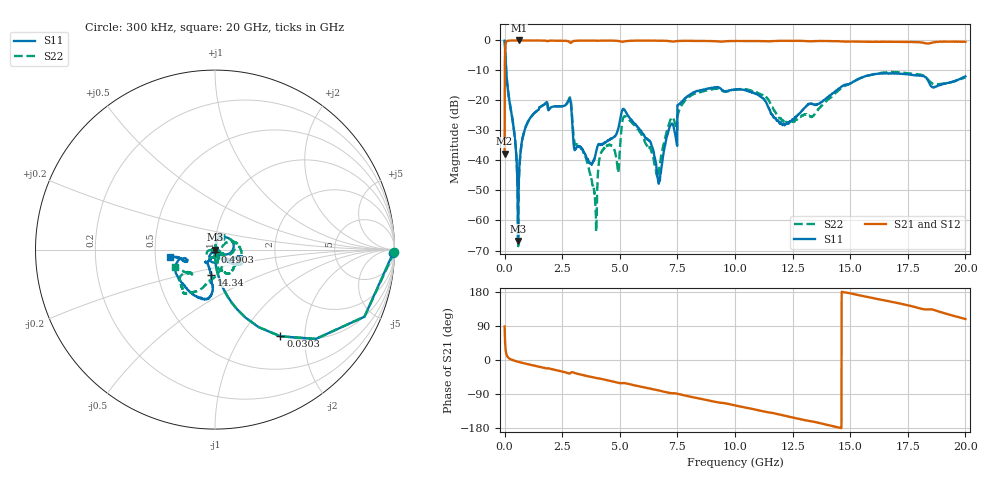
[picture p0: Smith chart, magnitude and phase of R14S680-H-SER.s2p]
!{R14S680}
!Johanson Technology Inc.
!www.johansontechnology.com
!Test Board Conditions:
!Substrate Type  RO4350B
!Substrate Thickness  20 mil
!Substrate Dk  3.66
!TL Type: GCPW
!TL Trace Width  36 mil
!TL Gap  12 mil
!Electrode orientation  Horizontal
!DUT TOPOLOGY	SERIES
!Mounting Pad LxW  26x36 mil
! Created Wed Nov 25 17:33:21 2020
! 2 Port Network Data from SP1.SP block
! freq  magS11  angS11  magS21  angS21  magS12  angS12  magS22  angS22
# khz S ma R 50
! decimated to every 10th point (10 MHz spacing) of the original 1 MHz Johanson file; values unchanged
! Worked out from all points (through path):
!   2001 points, 300 kHz to 20 GHz, reference 50 ohm
!   highest |S21| = 0.00 dB at 610.3 MHz (marker M1); lowest = -37.7 dB at 300 kHz (marker M2)
!   group delay of S21, straight-line fit = 34.8 ps
!   lowest |S11| = -66.8 dB at 580.3 MHz (marker M3), VSWR 1.00, Z = 50 - j0.0372 ohm
!   |S11| at or under -10 dB: 68.53 MHz to end of sweep
!   |S22| runs from -68.6 to 0.0 dB; largest |S21 - S12| = 0.017
!   S11 on the Smith chart (normalised r, x): 300 kHz: open; 30.3 MHz: 0.99, -1.51; 490.3 MHz: 1.00, -0.03; 14.34 GHz: 0.92, -0.26; 20 GHz: 0.60, -0.05
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300  0.9933 -1.0  0.01303 88.3  0.01298 89.2  0.998 -0.9
30300  0.6048 -53.0  0.7944 37.0  0.7954 37.0  0.6059 -52.9
120300  0.1818 -80.4  0.9828 9.4  0.9826 9.4  0.1826 -80.5
490300  0.01497 -94.2  0.9992 -3.1  0.9992 -3.1  0.01533 -92.6
580300  0.0004553 -125.1  0.9999 -4.7  0.9991 -4.7  0.001052 -92.1
610300  0.003838 90.9  0.9999 -5.2  0.999 -5.2  0.003369 78.9
920300  0.03652 81.4  0.9988 -9.8  0.9987 -9.8  0.03633 79.0
1760300  0.08821 69.6  0.9928 -21.3  0.9928 -21.2  0.08827 64.2
2800300  0.1038 32.4  0.9501 -35.7  0.9518 -35.7  0.1073 28.3
3340300  0.01582 40.0  0.9957 -39.1  0.9954 -39.0  0.01602 37.2
3930300  0.01183 -41.0  0.9931 -47.0  0.9927 -47.0  0.002042 100.7
4200300  0.01876 -89.2  0.993 -50.1  0.994 -50.0  0.01384 -166.8
4910300  0.03166 -70.4  0.9816 -59.9  0.9828 -59.8  0.007219 -160.9
5190300  0.071 -105.2  0.9618 -60.8  0.9615 -60.8  0.05437 -131.3
6670300  0.004697 -104.3  0.9925 -80.2  0.9926 -80.2  0.006529 -75.0
7600300  0.08786 -47.5  0.9812 -90.4  0.9811 -90.4  0.07155 31.5
1.00003e7  0.1524 -14.4  0.9786 -119.8  0.9788 -119.8  0.1509 -50.1
1.21103e7  0.04089 -74.4  0.9863 -146.4  0.9874 -146.4  0.04601 -54.2
1.33403e7  0.08829 -127.7  0.9683 -162.1  0.9706 -162.1  0.05327 -41.8
1.43403e7  0.1413 -99.1  0.9738 -175.9  0.9769 -176.0  0.1308 -81.6
1.66703e7  0.2793 -105.7  0.9502 155.1  0.9429 154.9  0.2977 -124.9
2e7  0.2528 -171.2  0.9474 108.1  0.9467 108.2  0.2439 -157.0
